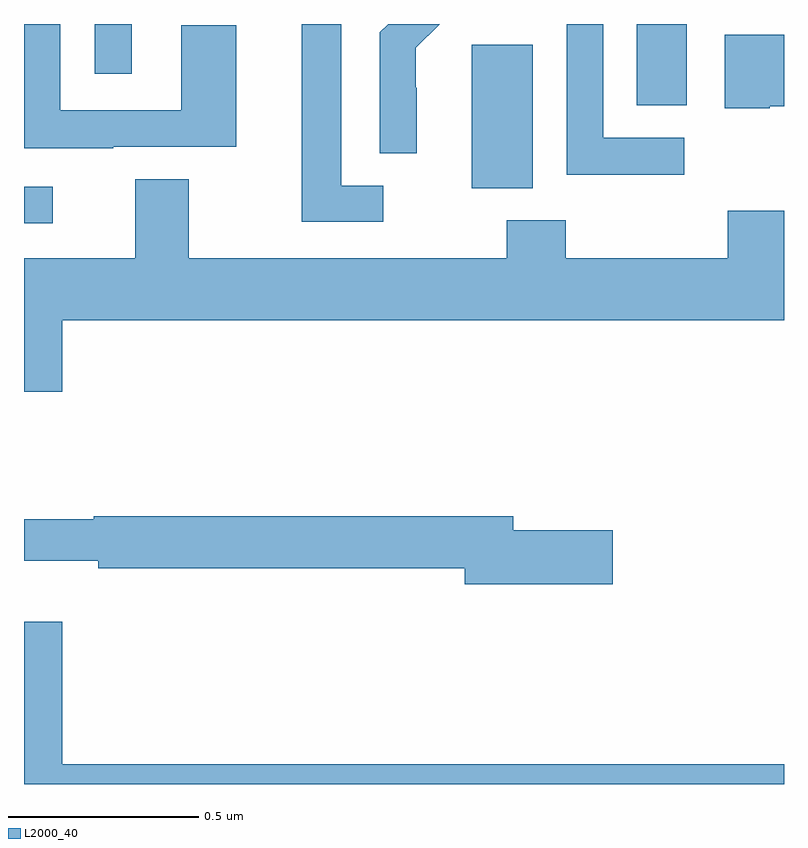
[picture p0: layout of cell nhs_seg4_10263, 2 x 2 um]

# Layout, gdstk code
import gdstk
lib = gdstk.Library(unit=1e-6, precision=1e-09)
def R(c, l, rs):  # rectangles x0, y0, x1, y1
    for r in rs: c.add(gdstk.rectangle(r[:2], r[2:], *l))
def P(c, l, *ps):  # polygons
    for p in ps: c.add(gdstk.Polygon(p, *l))
L2000_40 = (2000, 40)

nhs_seg4_10263 = lib.new_cell('nhs_seg4_10263')
R(nhs_seg4_10263, L2000_40, [(237,830.376,237.076,830.472), (238.178,830.468,238.339,830.845), (238.613,830.686,238.744,830.9), (237.186,830.769,237.283,830.9)])
P(nhs_seg4_10263, L2000_40, [(237.946,830.475),(237.835,830.475),(237.835,830.9),(237.731,830.9),(237.731,830.379),(237.946,830.379)],
  [(237.235,830.577),(237.559,830.577),(237.559,830.897),(237.414,830.897),(237.414,830.673),(237.096,830.673),(237.096,830.9),(237,830.9),(237,830.573),(237.235,830.573)],
  [(238.033,830.732),(238.031,830.732),(238.031,830.837),(238.094,830.9),(237.958,830.9),(237.936,830.878),(237.936,830.56),(238.033,830.56)],
  [(238.738,830.601),(238.524,830.601),(238.524,830.9),(238.428,830.9),(238.428,830.503),(238.738,830.503)],
  [(238.962,830.684),(239,830.684),(239,830.872),(238.844,830.872),(238.844,830.678),(238.962,830.678)],
  [(237.1,830.12),(239,830.12),(239,830.408),(238.852,830.408),(238.852,830.284),(238.425,830.284),(238.425,830.383),(238.27,830.383),(238.27,830.284),(237.433,830.284),(237.433,830.492),(237.293,830.492),(237.293,830.284),(237,830.284),(237,829.932),(237.1,829.932)],
  [(238.549,829.568),(238.288,829.568),(238.288,829.604),(237.184,829.604),(237.184,829.597),(237,829.597),(237,829.487),(237.196,829.487),(237.196,829.468),(238.16,829.468),(238.16,829.426),(238.549,829.426)],
  [(239,828.952),(237.1,828.952),(237.1,829.327),(237,829.327),(237,828.9),(239,828.9)])

lib.write_gds('nhs_seg4_10263.gds')
